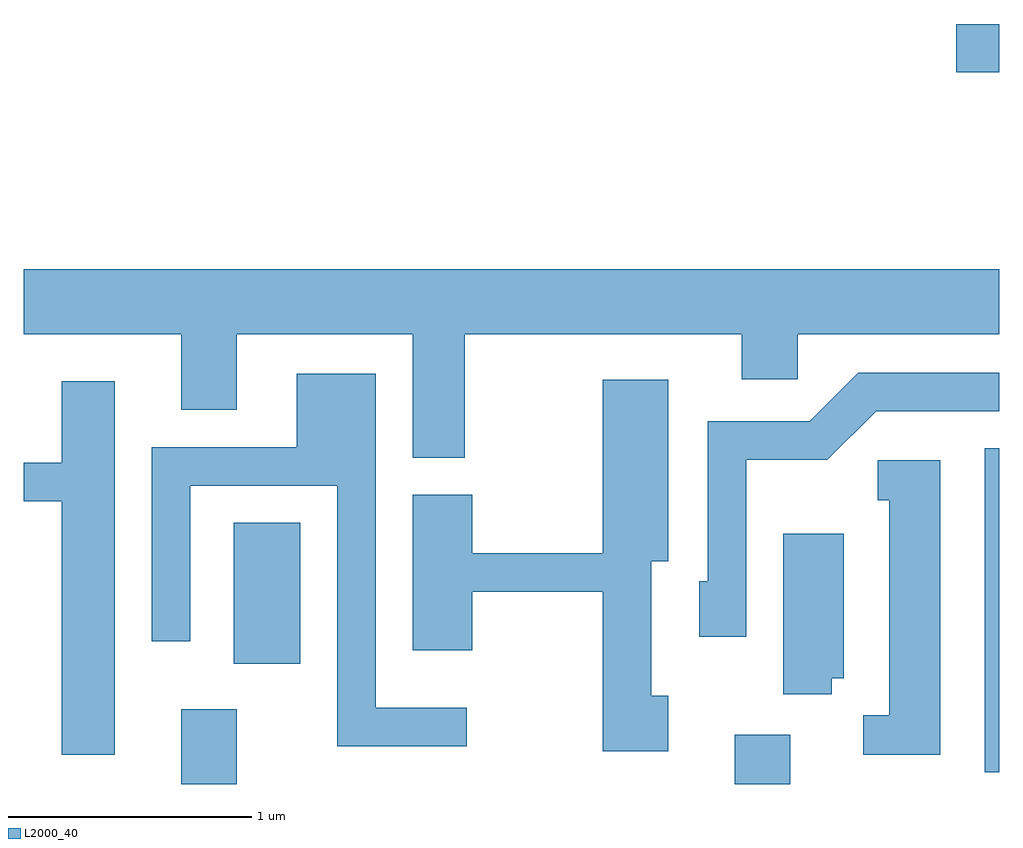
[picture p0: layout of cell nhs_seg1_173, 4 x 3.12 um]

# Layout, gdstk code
import gdstk
lib = gdstk.Library(unit=1e-6, precision=1e-09)
def R(c, l, rs):  # rectangles x0, y0, x1, y1
    for r in rs: c.add(gdstk.rectangle(r[:2], r[2:], *l))
def P(c, l, *ps):  # polygons
    for p in ps: c.add(gdstk.Polygon(p, *l))
L2000_40 = (2000, 40)

nhs_seg1_173 = lib.new_cell('nhs_seg1_173')
R(nhs_seg1_173, L2000_40, [(190.256,917.712,190.484,918.019), (192.526,917.712,192.754,917.914), (193.551,917.761,193.611,919.089), (190.471,918.206,190.744,918.784), (193.436,920.631,193.611,920.829)])
P(nhs_seg1_173, L2000_40, [(191.419,919.556),(192.556,919.556),(192.556,919.371),(192.784,919.371),(192.784,919.556),(193.611,919.556),(193.611,919.824),(189.611,919.824),(189.611,919.556),(190.256,919.556),(190.256,919.246),(190.484,919.246),(190.484,919.556),(191.206,919.556),(191.206,919.051),(191.419,919.051)],
  [(192.574,919.041),(192.907,919.041),(193.107,919.241),(193.611,919.241),(193.611,919.399),(193.034,919.399),(192.834,919.199),(192.416,919.199),(192.416,918.544),(192.381,918.544),(192.381,918.316),(192.574,918.316)],
  [(191.428,918.024),(191.054,918.024),(191.054,919.394),(190.731,919.394),(190.731,919.094),(190.136,919.094),(190.136,918.298),(190.294,918.298),(190.294,918.936),(190.896,918.936),(190.896,917.866),(191.428,917.866)],
  [(192.254,918.074),(192.184,918.074),(192.184,918.626),(192.254,918.626),(192.254,919.369),(191.986,919.369),(191.986,918.659),(191.449,918.659),(191.449,918.899),(191.206,918.899),(191.206,918.261),(191.449,918.261),(191.449,918.501),(191.986,918.501),(191.986,917.846),(192.254,917.846)],
  [(189.984,919.364),(189.766,919.364),(189.766,919.029),(189.611,919.029),(189.611,918.871),(189.766,918.871),(189.766,917.831),(189.984,917.831)],
  [(193.369,919.039),(193.113,919.039),(193.113,918.876),(193.161,918.876),(193.161,917.994),(193.053,917.994),(193.053,917.831),(193.369,917.831)],
  [(192.924,918.146),(192.974,918.146),(192.974,918.739),(192.726,918.739),(192.726,918.081),(192.924,918.081)])

lib.write_gds('nhs_seg1_173.gds')
